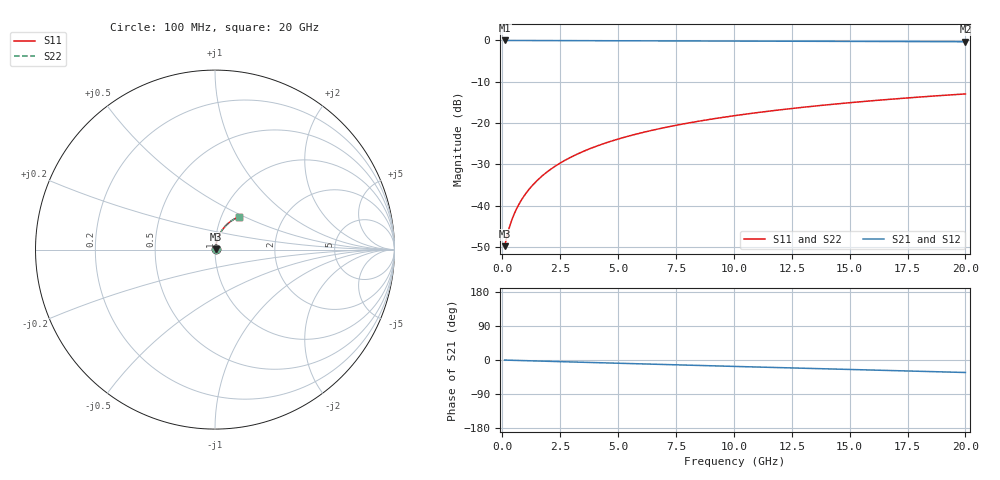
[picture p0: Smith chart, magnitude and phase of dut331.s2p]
! Touchstone file exported from HFSS 2026.1.0
!  File:  C:/ffzhzh/LocalFiles/Ansys_Project_Files/temp_train_BSMRDL_331_1783011012_4048.aedt
!  Generated:  12:51:30 AM Jul  3, 2026
!  Design:  BSMRDL
!  Project:  temp_train_BSMRDL_331_1783011012_4048
! Variables:
!  h_bsmrdl = 3.84um
!  h_ox = 20um
!  h_rdl = 5um
!  h_sub = 80um
!  h_tmrdl = 5um
!  h_tsv = 80um
!  h_via = 3um
!  l_bsmrdl = 530.69um
!  l_sub = 930.69um
!  l_tmrdl = 200um
!  m_sub = 200um
!  pitch = 31.07um
!  r_tsv = 6um
!  s_tmrdl = 10um
!  w_bsmrdl = 18.21um
!  w_sub = 500um
!  w_tmrdl = 12um
!  x_tsv_center1 = 206um
!  x_tsv_center2 = 754.9um
!  x_tsv_center3 = 966.9um
!  x_tsv_center4 = 1515.8um
!  x_tsv_center5 = 1727.8um
!  x_tsv_center6 = 2276.7um
# GHz S MA R 50.000000
! Terminal data exported
! Port[1] = BSM_RDL1_1_T1
! Port[2] = BSM_RDL1_1_T2
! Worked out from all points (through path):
!   200 points, 100 MHz to 20 GHz, reference 50 ohm
!   highest |S21| = -0.02 dB at 100 MHz (marker M1); lowest = -0.3 dB at 20 GHz (marker M2)
!   group delay of S21, straight-line fit = 4.57 ps
!   lowest |S11| = -49.8 dB at 100 MHz (marker M3), VSWR 1.01, Z = 50.3 + j0.155 ohm
!   |S11| at or under -10 dB: start of sweep to end of sweep
!   |S22| runs from -49.8 to -12.9 dB; largest |S21 - S12| = 2.6e-15
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0.1  0.003252 28.3  0.9971 -0.2  0.9971 -0.2  0.003252 28.3
! Gamma 0 0 0 0
! Port Impedance 50 0 50 0
0.2  0.004265 44.7  0.997 -0.4  0.997 -0.4  0.004265 44.7
0.3  0.005429 53.6  0.9968 -0.5  0.9968 -0.5  0.005429 53.6
0.4  0.006615 59.1  0.9967 -0.7  0.9967 -0.7  0.006616 59.1
0.5  0.007806 62.9  0.9965 -0.9  0.9965 -0.9  0.007807 62.9
0.6  0.009002 65.8  0.9964 -1.1  0.9964 -1.1  0.009004 65.8
0.8  0.01143 69.9  0.9963 -1.4  0.9963 -1.4  0.01143 69.9
1  0.01389 72.6  0.9962 -1.7  0.9962 -1.7  0.01389 72.5
1.2  0.01639 74.4  0.9961 -2.1  0.9961 -2.1  0.01639 74.3
1.4  0.0189 75.6  0.9959 -2.4  0.9959 -2.4  0.0189 75.6
1.7  0.0227 76.8  0.9957 -3.0  0.9957 -3.0  0.0227 76.8
2.2  0.02905 77.8  0.9954 -3.8  0.9954 -3.8  0.02905 77.8
2.8  0.03666 78.1  0.9948 -4.8  0.9948 -4.8  0.03666 78.1
3.5  0.04549 77.8  0.9941 -6.0  0.9941 -6.0  0.04549 77.8
4.2  0.05422 77.1  0.9932 -7.2  0.9932 -7.2  0.05423 77.1
5  0.06408 76.2  0.9921 -8.6  0.9921 -8.6  0.06408 76.2
6.8  0.08574 73.7  0.9893 -11.6  0.9893 -11.6  0.08575 73.7
8.3  0.1033 71.5  0.9867 -14.1  0.9867 -14.1  0.1033 71.5
10.1  0.1237 68.8  0.9834 -17.1  0.9834 -17.1  0.1237 68.8
13.4  0.1596 63.9  0.9768 -22.4  0.9768 -22.4  0.1597 63.8
16.7  0.1935 58.9  0.9696 -27.7  0.9696 -27.7  0.1936 58.9
20  0.2252 54.0  0.962 -33.0  0.962 -33.0  0.2252 53.9
